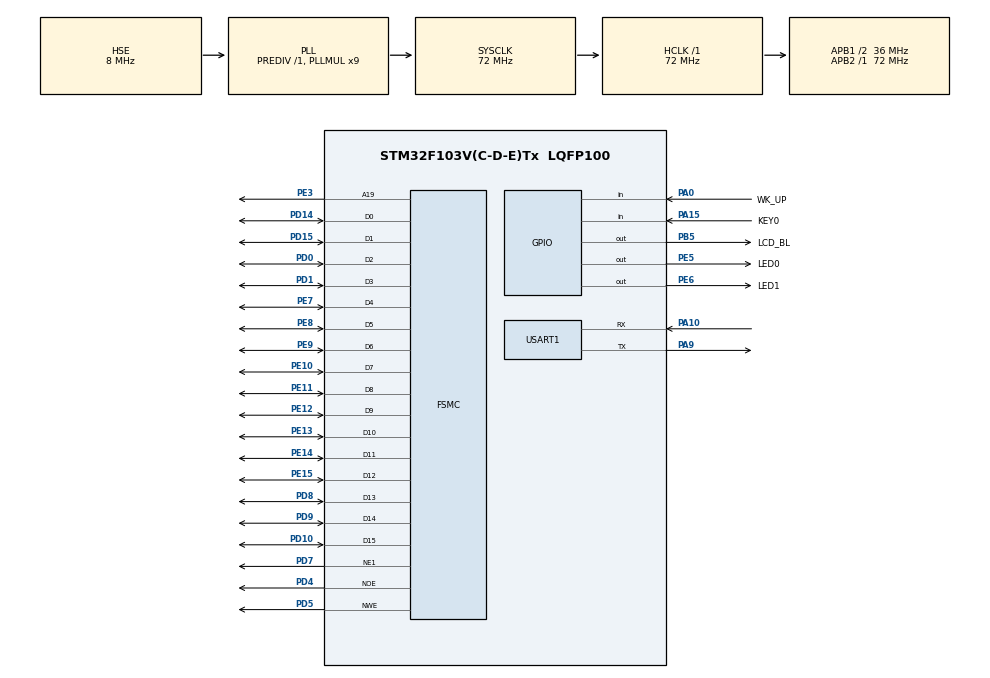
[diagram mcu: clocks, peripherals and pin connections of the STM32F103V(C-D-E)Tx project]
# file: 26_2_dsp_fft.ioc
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FSMC.AddressSetupTime1=0
FSMC.DataSetupTime1=15
FSMC.ExtendedAddressSetupTime1=0
FSMC.ExtendedDataSetupTime1=1
FSMC.ExtendedMode1=FSMC_EXTENDED_MODE_ENABLE
Mcu.Family=STM32F1
Mcu.Name=STM32F103V(C-D-E)Tx
Mcu.Package=LQFP100
NVIC.PriorityGroup=NVIC_PRIORITYGROUP_2
NVIC.TIM6_IRQn=true\:2\:1\:true\:false\:true\:true\:true\:true
NVIC.USART1_IRQn=true\:2\:2\:true\:false\:true\:true\:true\:true
OSC_IN.Mode=HSE-External-Oscillator
OSC_IN.Signal=RCC_OSC_IN
OSC_OUT.Mode=HSE-External-Oscillator
OSC_OUT.Signal=RCC_OSC_OUT
PA0-WKUP.GPIO_Label=WK_UP
PA0-WKUP.GPIO_PuPd=GPIO_PULLDOWN
PA0-WKUP.Signal=GPIO_Input
PA10.Mode=Asynchronous
PA10.Signal=USART1_RX
PA13.Mode=Serial_Wire
PA13.Signal=SYS_JTMS-SWDIO
PA14.Mode=Serial_Wire
PA14.Signal=SYS_JTCK-SWCLK
PA15.GPIO_Label=KEY0
PA15.GPIO_PuPd=GPIO_PULLDOWN
PA15.Signal=GPIO_Input
PA9.Mode=Asynchronous
PA9.Signal=USART1_TX
PB5.GPIO_Label=LCD_BL
PB5.GPIO_PuPd=GPIO_PULLUP
PB5.GPIO_Speed=GPIO_SPEED_FREQ_HIGH
PB5.PinState=GPIO_PIN_SET
PB5.Signal=GPIO_Output
PC14-OSC32_IN.Mode=LSE-External-Oscillator
PC14-OSC32_IN.Signal=RCC_OSC32_IN
PC15-OSC32_OUT.Mode=LSE-External-Oscillator
PC15-OSC32_OUT.Signal=RCC_OSC32_OUT
PD0.Mode=16b-d1
PD0.Signal=FSMC_D2
PD1.Mode=16b-d1
PD1.Signal=FSMC_D3
PD10.Mode=16b-d1
PD10.Signal=FSMC_D15
PD14.Mode=16b-d1
PD14.Signal=FSMC_D0
PD15.Mode=16b-d1
PD15.Signal=FSMC_D1
PD4.Mode=Lcd1
PD4.Signal=FSMC_NOE
PD5.Mode=Lcd1
PD5.Signal=FSMC_NWE
PD7.Mode=NorPsramChipSelect1_1
PD7.Signal=FSMC_NE1
PD8.Mode=16b-d1
PD8.Signal=FSMC_D13
PD9.Mode=16b-d1
PD9.Signal=FSMC_D14
PE10.Mode=16b-d1
PE10.Signal=FSMC_D7
PE11.Mode=16b-d1
PE11.Signal=FSMC_D8
PE12.Mode=16b-d1
PE12.Signal=FSMC_D9
PE13.Mode=16b-d1
PE13.Signal=FSMC_D10
PE14.Mode=16b-d1
PE14.Signal=FSMC_D11
PE15.Mode=16b-d1
PE15.Signal=FSMC_D12
PE3.Mode=A19_1
PE3.Signal=FSMC_A19
PE5.GPIO_Label=LED0
PE5.GPIO_PuPd=GPIO_PULLUP
PE5.GPIO_Speed=GPIO_SPEED_FREQ_HIGH
PE5.PinState=GPIO_PIN_SET
PE5.Signal=GPIO_Output
PE6.GPIO_Label=LED1
PE6.GPIO_PuPd=GPIO_PULLUP
PE6.GPIO_Speed=GPIO_SPEED_FREQ_HIGH
PE6.PinState=GPIO_PIN_SET
PE6.Signal=GPIO_Output
PE7.Mode=16b-d1
PE7.Signal=FSMC_D4
PE8.Mode=16b-d1
PE8.Signal=FSMC_D5
PE9.Mode=16b-d1
PE9.Signal=FSMC_D6
ProjectManager.HeapSize=0x200
ProjectManager.StackSize=0x400
ProjectManager.TargetToolchain=STM32CubeIDE
RCC.AHBFreq_Value=72000000
RCC.APB1CLKDivider=RCC_HCLK_DIV2
RCC.APB1Freq_Value=36000000
RCC.APB1TimFreq_Value=72000000
RCC.APB2Freq_Value=72000000
RCC.APB2TimFreq_Value=72000000
RCC.HCLKFreq_Value=72000000
RCC.PLLMUL=RCC_PLL_MUL9
RCC.PLLSourceVirtual=RCC_PLLSOURCE_HSE
RCC.SYSCLKFreq_VALUE=72000000
RCC.SYSCLKSource=RCC_SYSCLKSOURCE_PLLCLK
RCC.USBFreq_Value=72000000
TIM6.AutoReloadPreload=TIM_AUTORELOAD_PRELOAD_ENABLE
TIM6.Prescaler=7200-1
USART1.VirtualMode=VM_ASYNC
VP_TIM6_VS_ClockSourceINT.Mode=Enable_Timer
board=custom

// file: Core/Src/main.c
/* USER CODE BEGIN Header */
/**
 ****************************************************************************************************
 * @file        main.c
 * @author      ALIENTEK
 * @brief       dsp_fft code
 * @license     Copyright (C) 2012-2024, ALIENTEK
 ****************************************************************************************************
 * @attention
 *
 * platform     : ALIENTEK M100-STM32F103 board
 * website      : www.alientek.com
 * forum        : www.openedv.com/forum.php
 *
 * change logs  :
 * version      data         notes
 * V1.0         20240409     the first version
 *
 ****************************************************************************************************
 */
/* USER CODE END Header */
#include "main.h"
#include "tim.h"
#include "usart.h"
#include "gpio.h"
#include "fsmc.h"

/* USER CODE BEGIN Includes */
#include "../../BSP/LED/led.h"
#include "../../BSP/KEY/key.h"
#include "../../BSP/LCD/lcd.h"
#include "arm_math.h"
/* USER CODE END Includes */

/* USER CODE BEGIN PTD */
/* FFT length, default is 1024-point FFT
 * The possible ranges are: 16, 64, 256, 1024.
 */
#define FFT_LENGTH      1024
float fft_inputbuf[FFT_LENGTH * 2];     /* FFT input array */
float fft_outputbuf[FFT_LENGTH];        /* FFT output array */

uint8_t g_timeout;
/* USER CODE END PTD */

void SystemClock_Config(void);

/* USER CODE BEGIN 0 */
/**
 * @brief   Displays information about the experiment
 * @param   None
 * @retval  None
 */
void stm32f103ve_show_mesg(void)
{
	/* The serial port outputs the experimental information */
	printf("\n");
	printf("********************************\r\n");
	printf("STM32F103\r\n");
	printf("DAP_FFT Test\r\n");
	printf("ATOM@ALIENTEK\r\n");
	printf("********************************\r\n");
	printf("\r\n");
}
/* USER CODE END 0 */

int main(void)
{
  /* USER CODE BEGIN 1 */
  float time;
  char buf[50];
  arm_cfft_radix4_instance_f32 scfft;
  uint8_t key, t = 0;
  uint16_t i;
  /* USER CODE END 1 */

  /* MCU Configuration--------------------------------------------------------*/

  /* Reset of all peripherals, Initializes the Flash interface and the Systick. */
  HAL_Init();

  /* Configure the system clock */
  SystemClock_Config();

  /* Initialize all configured peripherals */
  MX_GPIO_Init();
  MX_USART1_UART_Init();
  MX_FSMC_Init();
  MX_TIM6_Init();
  /* USER CODE BEGIN 2 */
  lcd_init();                                         /* Initialize LCD */

  stm32f103ve_show_mesg();
  lcd_show_string(30, 50, 200, 16, 16, "STM32", RED);
  lcd_show_string(30, 70, 200, 16, 16, "DSP FFT TEST", RED);
  lcd_show_string(30, 90, 200, 16, 16, "ATOM@ALIENTEK", RED);
  lcd_show_string(30, 110, 200, 16, 16, "KEY0:Run FFT", RED);
  lcd_show_string(30, 140, 200, 16, 16, "FFT runtime:", RED);

  arm_cfft_radix4_init_f32(&scfft, FFT_LENGTH, 0, 1);
  /* Initialize the scfft structure and set the FFT related parameters */
  /* USER CODE END 2 */

  /* Infinite loop */
  /* USER CODE BEGIN WHILE */
  while (1)
  {
    key = key_scan(0);

    if (key == KEY0_PRES)
    {
      for (i = 0; i < FFT_LENGTH; i++)	/* Generating signal sequences */
      {
        fft_inputbuf[2 * i] = 100 +
          10 * arm_sin_f32(2 * PI * i / FFT_LENGTH) +
          30 * arm_sin_f32(2 * PI * i * 4 / FFT_LENGTH) +
          50 * arm_cos_f32(2 * PI * i * 8 / FFT_LENGTH);    /* Generate the real part of the input signal */
        fft_inputbuf[2 * i + 1] = 0; 	/* The imaginary part is all 0 */
      }

      TIM6->CNT = 0;        /* Resets the counter value of the TIM6 timer */
      g_timeout = 0;

      arm_cfft_radix4_f32(&scfft, fft_inputbuf);                      /* FFT calculation (radix 4) */

      time = TIM6->CNT + (uint32_t)g_timeout * 65536;                 /* Time taken to calculate */
      sprintf((char *)buf, "%0.3fms\r\n", time / 10);
      lcd_show_string(30 + 12 * 8, 140, 100, 16, 16, buf, BLUE);      /* Displaying the running time */

      arm_cmplx_mag_f32(fft_inputbuf, fft_outputbuf, FFT_LENGTH);     /* The magnitude is obtained modulo the complex number of the operation result */

      printf("\r\n%d point FFT runtime:%0.3fms\r\n", FFT_LENGTH, time / 1000);
      printf("FFT Result:\r\n");

      for (i = 0; i < FFT_LENGTH; i++)
      {
        printf("fft_outputbuf[%d]:%f\r\n", i, fft_outputbuf[i]);
      }
    }
    else
    {
      HAL_Delay(10);
    }

    t++;

    if ((t % 20) == 0)
    {
      LED0_TOGGLE();         /* flashing LED0 indicates that the system is running */
    }
    /* USER CODE END WHILE */

  }
}

void SystemClock_Config(void)
{
  RCC_OscInitTypeDef RCC_OscInitStruct = {0};
  RCC_ClkInitTypeDef RCC_ClkInitStruct = {0};

  /** Initializes the RCC Oscillators according to the specified parameters
  * in the RCC_OscInitTypeDef structure.
  */
  RCC_OscInitStruct.OscillatorType = RCC_OSCILLATORTYPE_HSE;
  RCC_OscInitStruct.HSEState = RCC_HSE_ON;
  RCC_OscInitStruct.HSEPredivValue = RCC_HSE_PREDIV_DIV1;
  RCC_OscInitStruct.HSIState = RCC_HSI_ON;
  RCC_OscInitStruct.PLL.PLLState = RCC_PLL_ON;
  RCC_OscInitStruct.PLL.PLLSource = RCC_PLLSOURCE_HSE;
  RCC_OscInitStruct.PLL.PLLMUL = RCC_PLL_MUL9;
  if (HAL_RCC_OscConfig(&RCC_OscInitStruct) != HAL_OK)
  {
    Error_Handler();
  }

  /** Initializes the CPU, AHB and APB buses clocks
  */
  RCC_ClkInitStruct.ClockType = RCC_CLOCKTYPE_HCLK|RCC_CLOCKTYPE_SYSCLK
                              |RCC_CLOCKTYPE_PCLK1|RCC_CLOCKTYPE_PCLK2;
  RCC_ClkInitStruct.SYSCLKSource = RCC_SYSCLKSOURCE_PLLCLK;
  RCC_ClkInitStruct.AHBCLKDivider = RCC_SYSCLK_DIV1;
  RCC_ClkInitStruct.APB1CLKDivider = RCC_HCLK_DIV2;
  RCC_ClkInitStruct.APB2CLKDivider = RCC_HCLK_DIV1;

  if (HAL_RCC_ClockConfig(&RCC_ClkInitStruct, FLASH_LATENCY_2) != HAL_OK)
  {
    Error_Handler();
  }
}

void Error_Handler(void)
{
  __disable_irq();
  while (1)
  {
  }
}
